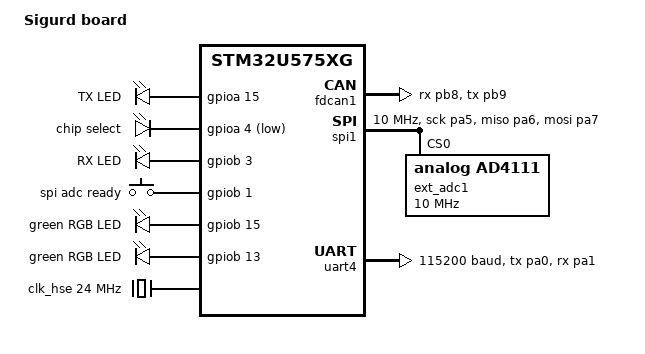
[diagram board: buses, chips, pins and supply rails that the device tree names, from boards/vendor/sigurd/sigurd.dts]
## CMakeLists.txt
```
cmake_minimum_required(VERSION 3.20.0)

set(BOARD_ROOT ${CMAKE_CURRENT_LIST_DIR})

list(APPEND ZEPHYR_EXTRA_MODULES
    ${CMAKE_CURRENT_SOURCE_DIR}/modules/ad4111
)

find_package(Zephyr REQUIRED HINTS $ENV{ZEPHYR_BASE})
project(sigurd)

target_sources(app PRIVATE
    src/main.c
    src/sensors.c
    src/can_com.c
)
```

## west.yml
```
# Copyright (c) 2021 Nordic Semiconductor ASA
# SPDX-License-Identifier: Apache-2.0

manifest:
  self:
    west-commands: scripts/west-commands.yml

  remotes:
    - name: zephyrproject-rtos
      url-base: https://github.com/zephyrproject-rtos

  projects:
    - name: zephyr
      remote: zephyrproject-rtos
      revision: main
      import:
        # By using name-allowlist we can clone only the modules that are
        # strictly needed by the application.
        name-allowlist:
          - cmsis_6    # required by the ARM port for Cortex-M
          - hal_stm32  # required by the nucleo_f302r8 board (STM32 based)
          - cmsis
          - hal_st
```

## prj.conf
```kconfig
CONFIG_LOG=y
CONFIG_LOG_MODE_DEFERRED=y
CONFIG_LOG_BUFFER_SIZE=4096

CONFIG_DEBUG=y

CONFIG_SPI=y
```

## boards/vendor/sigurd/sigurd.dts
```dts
/dts-v1/;
#include <st/u5/stm32u575Xg.dtsi>
#include <st/u5/stm32u575rgtx-pinctrl.dtsi>
#include <zephyr/dt-bindings/input/input-event-codes.h>

/ {
	model = "Sigurd board";

	chosen {
		zephyr,sram = &sram0;
		zephyr,flash = &flash0;
		zephyr,canbus = &fdcan1;
		zephyr,console = &uart4;
		zephyr,shell-uart = &uart4;
	};

	aliases {
		xadc1 = &ext_adc1;
		fdcan1 = &fdcan1;
		spimisoready = &spi1_miso_pa6;
	};


    leds {
        compatible = "gpio-leds";
        
        led0: led_0 {
			gpios = <&gpioa 15 GPIO_ACTIVE_HIGH>;
			label = "TX LED";
		};


        chipselect1: chipselect1 {
			gpios = <&gpioa 4 GPIO_ACTIVE_LOW>;
			label = "chip select";
		};

		led1: led_1 {
			gpios = <&gpiob 3 GPIO_ACTIVE_HIGH>;
			label = "RX LED";
		};

    };

	buttons {
		compatible = "gpio-keys";
        spiadcready: spiadcready {
			gpios = <&gpiob 1 (GPIO_ACTIVE_HIGH | GPIO_PULL_DOWN)>;
			label = "spi adc ready";
			zephyr,code = <INPUT_KEY_0>;
		};
	};

	rgbleds {
        compatible = "gpio-leds";
        
        g: green_led {
			gpios = <&gpiob 15 GPIO_ACTIVE_HIGH>;
			label = "green RGB LED";
		};

		r: red_led {
			gpios = <&gpiob 13 GPIO_ACTIVE_HIGH>;
			label = "green RGB LED";
		};

		

    };


};

&clk_hse {
    clock-frequency = <DT_FREQ_M(24)>; /* your crystal MHz */
    status = "okay";
};

&pll1 {
	div-m = <2>;
	mul-n = <30>;
	div-q = <4>;
	div-r = <4>;
	clocks = <&clk_hse>;
	status = "okay";
};

&rcc {
	clocks = <&pll1>;
	clock-frequency = <DT_FREQ_M(90)>;
	ahb-prescaler = <1>;
	apb1-prescaler = <1>;
	apb2-prescaler = <1>;
	apb3-prescaler = <1>;
};

&fdcan1 {
	clocks = <&rcc STM32_CLOCK_BUS_APB1_2 0x00000200>,
		 <&rcc STM32_SRC_PLL1_Q FDCAN1_SEL(1)>;
	pinctrl-0 = <&fdcan1_rx_pb8 &fdcan1_tx_pb9>;
	pinctrl-names = "default";
	status = "okay";
};

&spi1 {
    // compatible = "zephyr,spi-emul-controller";
    // compatible = "spi-device"
    status = "okay";
	pinctrl-0 = <&spi1_sck_pa5 &spi1_miso_pa6 &spi1_mosi_pa7>;
	pinctrl-names = "default";
    // cs-gpios = <&gpioa 4 GPIO_ACTIVE_LOW>;
	clock-frequency = <10000000>;

    ext_adc1: ad4111@0 {
		compatible = "analog,ad4111";
        status = "okay";
        reg = <0>;
        //spi-max-frequency = <100000>;
        spi-max-frequency = <10000000>;
    };

};

&uart4 {
    pinctrl-0 = <&uart4_tx_pa0 &uart4_rx_pa1>;
	pinctrl-names = "default";
	current-speed = <115200>;
	status = "okay";
};


&spi1_sck_pa5 {
	/delete-property/ bias-pull-down;
	bias-pull-up;
};
```

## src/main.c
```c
/*
 * Copyright (c) 2016 Intel Corporation
 *
 * SPDX-License-Identifier: Apache-2.0
 */

#include <stdio.h>
#include <zephyr/kernel.h>
#include <zephyr/logging/log.h>
#include <zephyr/drivers/gpio.h>
#include <zephyr/device.h>
#include <zephyr/devicetree.h>
#include <zephyr/kernel.h>

#include "main.h"
#include "sensors.h"
#include "can_com.h"


LOG_MODULE_REGISTER(main, LOG_LEVEL_INF);

static const struct gpio_dt_spec tx_led = GPIO_DT_SPEC_GET(DT_NODELABEL(led0), gpios);

sigurd_t sigurd = {
}

sigurd.initialized = 0;


int main(void)
{

	initializePins();


	init_sensor(&sigurd);
	init_can(can_rx_cb, NULL);

	return 0;
}

int initializePins(void) {

	int ret;

	if (!gpio_is_ready_dt(&tx_led))
		LOG_ERR("LED NOT READY");
	return 0;

	ret = gpio_pin_configure_dt(&tx_led, GPIO_OUTPUT_ACTIVE);
	if (ret < 0)
		LOG_ERR("FAILED TO CONFIGURE LED");
	return 0;

}
```

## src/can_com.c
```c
#include <zephyr/drivers/can.h>
#include <zephyr/kernel.h>
#include <zephyr/logging/log.h>
#include <zephyr/sys/util.h>
#include <errno.h>

LOG_MODULE_REGISTER(can_com);

K_MSGQ_DEFINE(can_tx_queue,
              sizeof(struct can_frame),
              8,            /* queue length (frames) */
              1);            /* alignment */
K_SEM_DEFINE(can_tx_done, 1, 1);

#define FDCAN_1_NODE DT_ALIAS(fdcan1)

const struct device *const can_dev = DEVICE_DT_GET(FDCAN_1_NODE);


void can_tx_cb(const struct device *device, int error, void *user_data) {
    k_sem_give(&can_tx_done);
    if (error) {
        LOG_ERR("can send callback error %d", error);
    }
}

int submit_can_pkt(const void *packet, size_t length) {
    struct can_frame frame = {
            .flags = 0,
            .id = 0x123,
            .dlc = length,
    };
    memcpy(frame.data, packet, length);
    int ret = k_msgq_put(&can_tx_queue, &frame, K_NO_WAIT);
    if (ret == -EAGAIN) {
        LOG_ERR("can tx queue full");
    }
    return 0;
}

void can_thread_fn(void) {
    int ret;
    struct can_frame frame;

    while (1) {
        ret = k_msgq_get(&can_tx_queue, &frame, K_FOREVER);
        if (ret) {
            LOG_INF("k_msgq_get returned error %d", ret);
        }

        // wait until previous frame is sent
        k_sem_take(&can_tx_done, K_MSEC(200));

        LOG_INF("sending can message 0x%02X", frame.id);

        // send frame (blocking until mailbox is available)
        ret = can_send(can_dev, &frame,
                           K_MSEC(100),
                            can_tx_cb,
                           NULL);

        if (ret ) { // callback not called
            LOG_ERR("can send error %d", ret);
            k_sem_give(&can_tx_done);
        }
    }
}

K_THREAD_DEFINE(can_thread,
                1024,
                can_thread_fn,
                NULL, NULL, NULL,
                1, // priority
                0,
                -1); // do not start

int add_filter_can(can_rx_callback_t rx_callback, struct can_filter filter, void *can_user_data) {
    int ret = can_add_rx_filter(can_dev, rx_callback, can_user_data, &filter);
    if (ret < 0) {
        LOG_ERR("adding can filter failed: %d", ret);
    } else {
        LOG_INF("adding can filter success");
    }
    return ret;
}

int init_can() {
    int ret;

 
    if (!device_is_ready(can_dev)) {
        LOG_ERR("CAN device not ready");
        return -1;
    }


    #if defined(CONFIG_BOARD_NATIVE_SIM) 
    can_set_mode(can_dev, CAN_MODE_LOOPBACK);
    #endif
    

    ret = can_set_bitrate(can_dev, 500000); // 500 kb/s
    if (ret) {
        LOG_ERR("failed to set CAN nominal bitrate: [%d]", ret);
        return -1;
    } else {
        LOG_INF("CAN nominal bitrate successfully set to 500kb/s");
    }

    ret = can_set_bitrate_data(can_dev, 500000); // 500 kb/s
    if (ret) {
        LOG_ERR("failed to set CAN bitrate: [%d]", ret);
        return -1;
    } else {
        LOG_INF("CAN bitrate successfully set to 500kb/s");
    }

    ret = can_start(can_dev);
    if (ret) {
        LOG_ERR("failed to start CAN: %d", ret);
        return -1;
    } else{
        LOG_INF("CAN started");
    }

    k_thread_start(can_thread);

    return 0;
}
```

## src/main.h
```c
#ifndef __MAIN_H
#define __MAIN_H

#ifdef __cplusplus
extern "C" {
#endif

typedef struct {
	int32_t adc_values[10];
	float thermocouples[4];
	float RTDs[2];
	float pressures[4];
	int initialized;
} sigurd_t;


#ifdef __cplusplus
}
#endif

#endif /* __MAIN_H */
```

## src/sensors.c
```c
#include <zephyr/kernel.h>
#include <zephyr/logging/log.h>
#include <zephyr/drivers/adc.h>

#include <ad4111.h>
#include "sensors.h"


LOG_MODULE_REGISTER(sensors, LOG_LEVEL_INF);

K_THREAD_STACK_DEFINE(sensor_thread_stack, SENSOR_THREAD_STACK_SIZE);


void init_sensor(sigurd_t *sigurd) {
    sensor_thread_id = k_thread_create(
        &sensor_thread_data,
        sensor_thread_stack,
        K_THREAD_STACK_SIZEOF(sensor_thread_stack),
        (k_thread_entry_t)sensor_thread,
        sigurd, NULL, NULL,
        SENSOR_THREAD_PRIORITY, 0, K_NO_WAIT
    );
    k_thread_name_set(sensor_thread_id, "sensor");
}

void sensor_thread(void* p1, void* p2, void* p3) {

    sigurd_t* sigurd = p1;

    const struct device* ext_adc1 = DEVICE_DT_GET(DT_ALIAS(xadc1));

    if (!device_is_ready(ext_adc1)) {
        LOG_ERR("ext_adc1 not ready");
        return;
    }

    sigurd->initialized = 1;

    LOG_INF("ext_adc1 ready");

    LOG_INF("Sensor thread is running!");

    while (1) {
        int32_t adc_values[10];

        for (int i = 0; i < 10; i++) {
            
            LOG_INF("ALIVE");

            int e = ad4111_read_channel(ext_adc1, i, &adc_values[i]);

            if (e) {
                LOG_ERR("ADC read failed on ch %d (err %d)", i, err);
            }
            else {
                LOG_INF("CH%d = %d", i, adc_values[i]);
                sigurd->adc_values[i] = value;
            }

            k_msleep(10);
        }

    }
}
```

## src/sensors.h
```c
#ifndef __SENSOR_H
#define __SENSOR_H

#ifdef __cplusplus
extern "C" {
#endif

#define SENSOR_THREAD_STACK_SIZE 4096
#define SENSOR_THREAD_PRIORITY 7

struct k_thread sensor_thread_data;
k_tid_t sensor_thread_id;

void sensor_thread(void *p1, void *p2, void *p3);

#ifdef __cplusplus
}
#endif

#endif /* __SENSOR_H */
```
